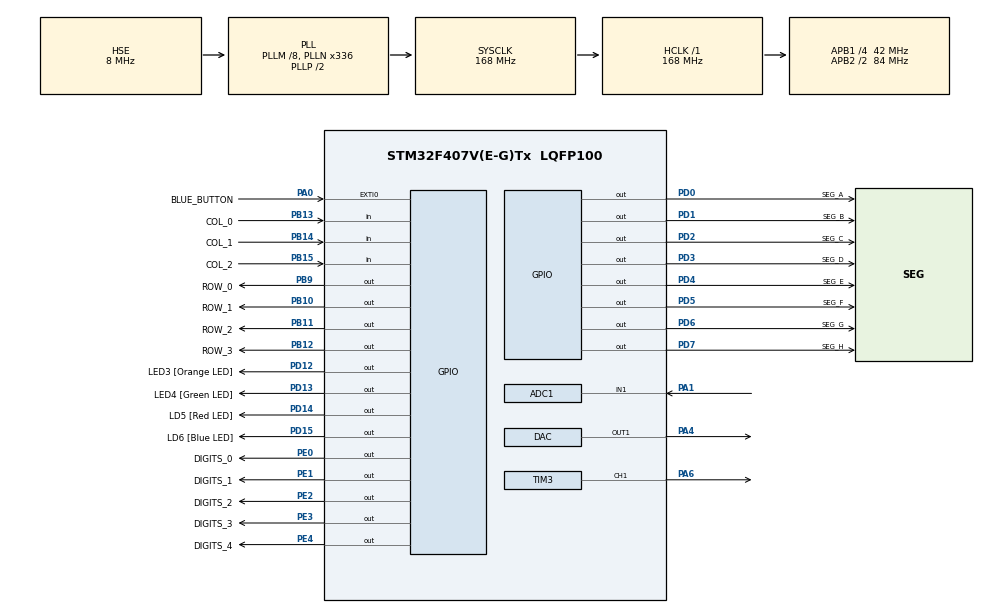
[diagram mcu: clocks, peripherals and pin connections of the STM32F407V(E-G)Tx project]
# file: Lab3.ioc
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ADC1.Channel-12\#ChannelRegularConversion=ADC_CHANNEL_1
ADC1.ClockPrescaler=ADC_CLOCK_SYNC_PCLK_DIV4
ADC1.ContinuousConvMode=DISABLE
ADC1.DMAContinuousRequests=DISABLE
ADC1.DataAlign=ADC_DATAALIGN_RIGHT
ADC1.DiscontinuousConvMode=DISABLE
ADC1.EOCSelection=ADC_EOC_SEQ_CONV
ADC1.EnableAnalogWatchDog=false
ADC1.ExternalTrigConv=ADC_EXTERNALTRIGCONV_T2_TRGO
ADC1.ExternalTrigConvEdge=ADC_EXTERNALTRIGCONVEDGE_RISING
ADC1.InjNumberOfConversion=0
ADC1.NbrOfConversion=1
ADC1.NbrOfConversionFlag=1
ADC1.Rank-12\#ChannelRegularConversion=1
ADC1.Resolution=ADC_RESOLUTION_12B
ADC1.SamplingTime-12\#ChannelRegularConversion=ADC_SAMPLETIME_480CYCLES
ADC1.ScanConvMode=DISABLE
ADC1.master=1
Dma.ADC1.0.Direction=DMA_PERIPH_TO_MEMORY
Dma.ADC1.0.FIFOMode=DMA_FIFOMODE_DISABLE
Dma.ADC1.0.Instance=DMA2_Stream0
Dma.ADC1.0.MemDataAlignment=DMA_MDATAALIGN_WORD
Dma.ADC1.0.MemInc=DMA_MINC_ENABLE
Dma.ADC1.0.Mode=DMA_CIRCULAR
Dma.ADC1.0.PeriphDataAlignment=DMA_PDATAALIGN_WORD
Dma.ADC1.0.PeriphInc=DMA_PINC_DISABLE
Dma.ADC1.0.Priority=DMA_PRIORITY_LOW
Dma.Request0=ADC1
Mcu.Family=STM32F4
Mcu.Name=STM32F407V(E-G)Tx
Mcu.Package=LQFP100
NVIC.ADC_IRQn=true\:0\:0\:false\:false\:true\:true
NVIC.DMA2_Stream0_IRQn=true\:0\:0\:false\:false\:true\:false
NVIC.EXTI0_IRQn=true\:0\:0\:false\:false\:true\:true
NVIC.PriorityGroup=NVIC_PRIORITYGROUP_4
NVIC.TIM2_IRQn=true\:0\:0\:true\:false\:true\:true
NVIC.TIM3_IRQn=true\:0\:0\:false\:false\:true\:true
PA0-WKUP.GPIO_Label=BLUE_BUTTON
PA0-WKUP.Signal=GPXTI0
PA1.Signal=ADCx_IN1
PA4.Signal=COMP_DAC1_group
PA6.Signal=S_TIM3_CH1
PB10.GPIO_Label=ROW_1
PB10.Signal=GPIO_Output
PB11.GPIO_Label=ROW_2
PB11.Signal=GPIO_Output
PB12.GPIO_Label=ROW_3
PB12.Signal=GPIO_Output
PB13.GPIO_Label=COL_0
PB13.GPIO_PuPd=GPIO_PULLDOWN
PB13.Signal=GPIO_Input
PB14.GPIO_Label=COL_1
PB14.GPIO_PuPd=GPIO_PULLDOWN
PB14.Signal=GPIO_Input
PB15.GPIO_Label=COL_2
PB15.GPIO_PuPd=GPIO_PULLDOWN
PB15.Signal=GPIO_Input
PB9.GPIO_Label=ROW_0
PB9.Signal=GPIO_Output
PD0.GPIO_Label=SEG_A
PD0.GPIO_Speed=GPIO_SPEED_FREQ_HIGH
PD0.PinState=GPIO_PIN_RESET
PD0.Signal=GPIO_Output
PD1.GPIO_Label=SEG_B
PD1.GPIO_Speed=GPIO_SPEED_FREQ_HIGH
PD1.Signal=GPIO_Output
PD12.GPIO_Label=LED3 [Orange LED]
PD12.Signal=GPIO_Output
PD13.GPIO_Label=LED4 [Green LED]
PD13.Signal=GPIO_Output
PD14.GPIO_Label=LD5 [Red LED]
PD14.Signal=GPIO_Output
PD15.GPIO_Label=LD6 [Blue LED]
PD15.Signal=GPIO_Output
PD2.GPIO_Label=SEG_C
PD2.GPIO_Speed=GPIO_SPEED_FREQ_HIGH
PD2.Signal=GPIO_Output
PD3.GPIO_Label=SEG_D
PD3.GPIO_Speed=GPIO_SPEED_FREQ_HIGH
PD3.Signal=GPIO_Output
PD4.GPIO_Label=SEG_E
PD4.GPIO_Speed=GPIO_SPEED_FREQ_HIGH
PD4.Signal=GPIO_Output
PD5.GPIO_Label=SEG_F
PD5.GPIO_Speed=GPIO_SPEED_FREQ_HIGH
PD5.Signal=GPIO_Output
PD6.GPIO_Label=SEG_G
PD6.GPIO_Speed=GPIO_SPEED_FREQ_HIGH
PD6.PinState=GPIO_PIN_RESET
PD6.Signal=GPIO_Output
PD7.GPIO_Label=SEG_H
PD7.GPIO_Speed=GPIO_SPEED_FREQ_HIGH
PD7.Signal=GPIO_Output
PE0.GPIO_Label=DIGITS_0
PE0.GPIO_Speed=GPIO_SPEED_FREQ_HIGH
PE0.PinState=GPIO_PIN_RESET
PE0.Signal=GPIO_Output
PE1.GPIO_Label=DIGITS_1
PE1.GPIO_Speed=GPIO_SPEED_FREQ_HIGH
PE1.Signal=GPIO_Output
PE2.GPIO_Label=DIGITS_2
PE2.GPIO_Speed=GPIO_SPEED_FREQ_HIGH
PE2.Signal=GPIO_Output
PE3.GPIO_Label=DIGITS_3
PE3.GPIO_Speed=GPIO_SPEED_FREQ_HIGH
PE3.Signal=GPIO_Output
PE4.GPIO_Label=DIGITS_4
PE4.GPIO_Speed=GPIO_SPEED_FREQ_HIGH
PE4.Signal=GPIO_Output
PH0-OSC_IN.Mode=HSE-External-Oscillator
PH0-OSC_IN.Signal=RCC_OSC_IN
PH1-OSC_OUT.Mode=HSE-External-Oscillator
PH1-OSC_OUT.Signal=RCC_OSC_OUT
ProjectManager.HeapSize=0x200
ProjectManager.StackSize=0x400
ProjectManager.TargetToolchain=MDK-ARM V5
RCC.48MHZClocksFreq_Value=84000000
RCC.AHBFreq_Value=168000000
RCC.APB1CLKDivider=RCC_HCLK_DIV4
RCC.APB1Freq_Value=42000000
RCC.APB1TimFreq_Value=84000000
RCC.APB2CLKDivider=RCC_HCLK_DIV2
RCC.APB2Freq_Value=84000000
RCC.APB2TimFreq_Value=168000000
RCC.CortexFreq_Value=168000000
RCC.HCLKFreq_Value=168000000
RCC.HSE_VALUE=8000000
RCC.HSI_VALUE=16000000
RCC.LSE_VALUE=32768
RCC.PLLM=8
RCC.PLLN=336
RCC.PLLSourceVirtual=RCC_PLLSOURCE_HSE
RCC.SYSCLKFreq_VALUE=168000000
RCC.SYSCLKSource=RCC_SYSCLKSOURCE_PLLCLK
RCC.VCOOutputFreq_Value=336000000
SH.ADCx_IN1.0=ADC1_IN1,IN1
SH.COMP_DAC1_group.0=DAC_OUT1,DAC_OUT1
SH.S_TIM3_CH1.0=TIM3_CH1,PWM Generation1 CH1
TIM2.Period=1000
TIM2.Prescaler=83
TIM2.TIM_MasterOutputTrigger=TIM_TRGO_UPDATE
TIM3.Channel-PWM\ Generation1\ CH1=TIM_CHANNEL_1
TIM3.Period=8400
TIM3.Prescaler=0
VP_TIM2_VS_ClockSourceINT.Mode=Internal
VP_TIM3_VS_ClockSourceINT.Mode=Internal
board=Lab3

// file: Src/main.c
/**
  ******************************************************************************
  * @file           : main.c
  * @brief          : Main program body
  ******************************************************************************
  ** This notice applies to any and all portions of this file
  * that are not between comment pairs USER CODE BEGIN and
  * USER CODE END. Other portions of this file, whether
  * inserted by the user or by software development tools
  * are owned by their respective copyright owners.
  *
  * COPYRIGHT(c) 2018 STMicroelectronics
  *
  * Redistribution and use in source and binary forms, with or without modification,
  * are permitted provided that the following conditions are met:
  *   1. Redistributions of source code must retain the above copyright notice,
  *      this list of conditions and the following disclaimer.
  *   2. Redistributions in binary form must reproduce the above copyright notice,
  *      this list of conditions and the following disclaimer in the documentation
  *      and/or other materials provided with the distribution.
  *   3. Neither the name of STMicroelectronics nor the names of its contributors
  *      may be used to endorse or promote products derived from this software
  *      without specific prior written permission.
  *
  * THIS SOFTWARE IS PROVIDED BY THE COPYRIGHT HOLDERS AND CONTRIBUTORS "AS IS"
  * AND ANY EXPRESS OR IMPLIED WARRANTIES, INCLUDING, BUT NOT LIMITED TO, THE
  * IMPLIED WARRANTIES OF MERCHANTABILITY AND FITNESS FOR A PARTICULAR PURPOSE ARE
  * DISCLAIMED. IN NO EVENT SHALL THE COPYRIGHT HOLDER OR CONTRIBUTORS BE LIABLE
  * FOR ANY DIRECT, INDIRECT, INCIDENTAL, SPECIAL, EXEMPLARY, OR CONSEQUENTIAL
  * DAMAGES (INCLUDING, BUT NOT LIMITED TO, PROCUREMENT OF SUBSTITUTE GOODS OR
  * SERVICES; LOSS OF USE, DATA, OR PROFITS; OR BUSINESS INTERRUPTION) HOWEVER
  * CAUSED AND ON ANY THEORY OF LIABILITY, WHETHER IN CONTRACT, STRICT LIABILITY,
  * OR TORT (INCLUDING NEGLIGENCE OR OTHERWISE) ARISING IN ANY WAY OUT OF THE USE
  * OF THIS SOFTWARE, EVEN IF ADVISED OF THE POSSIBILITY OF SUCH DAMAGE.
  *
  ******************************************************************************
  */
#include "main.h"
#include "stm32f4xx_hal.h"

/* USER CODE BEGIN Includes */
#ifdef __stdio_h
#include <stdio.h>
#endif

#include <stdbool.h>
#ifndef DISPLAY_RMS
#include "heads_up_display.h"
#endif

#ifndef FSM
#include "fsm.h"
#endif

#ifndef ADC
#include "adc.h"
#endif

#include <math.h>

#define ABS(x) ((x < 0)? -x : x)
#define MAX(a, b) ((a > b) ? a : b)
#define MIN(a, b) ((a < b) ? a : b)
#define BOUND(x, lower, upper) (MAX(MIN(x, upper), lower))

/* USER CODE END Includes */

ADC_HandleTypeDef hadc1;
DMA_HandleTypeDef hdma_adc1;

DAC_HandleTypeDef hdac;

TIM_HandleTypeDef htim2;
TIM_HandleTypeDef htim3;

/* USER CODE BEGIN PV */
/* Private variables ---------------------------------------------------------*/

const int PWM_TIMER_PERIOD = 1680;

/* USER CODE END PV */

void SystemClock_Config(void);
static void MX_GPIO_Init(void);
static void MX_DMA_Init(void);
static void MX_DAC_Init(void);
static void MX_ADC1_Init(void);
static void MX_TIM2_Init(void);
static void MX_TIM3_Init(void);

void HAL_TIM_MspPostInit(TIM_HandleTypeDef *htim);

/* USER CODE BEGIN PFP */
/* Private function prototypes -----------------------------------------------*/

// Called in order to adjust the duty cycle.
void adjust_duty_cycle(float current_rms);

// starts the ADC.
void start_adc(void);
// stops the ADC.
void stop_adc(void);

extern int ADC_BUFFER_SIZE;
extern uint32_t ADCBufferDMA[];

extern void adc_buffer_full_callback(void);

// Function that is called whenever the blue button is pressed.
void button_pressed_callback(void);
void pwm_duty_cycle(uint16_t new_period);
/* USER CODE END PFP */

/* USER CODE BEGIN 0 */

/** @brief Set the period of the PWM timer
* @param new_period: new timer period.
*/
void pwm_duty_cycle(uint16_t new_period) //input percentage
{
//    uint16_t value = (uint16_t)(PWM_TIMER_PERIOD)*percentage; //(period)*(percent/100)
		TIM_OC_InitTypeDef sConfigOC;
		sConfigOC.OCMode = TIM_OCMODE_PWM1;
		sConfigOC.Pulse = BOUND(new_period, 0, PWM_TIMER_PERIOD);
		sConfigOC.OCPolarity = TIM_OCPOLARITY_HIGH;
		sConfigOC.OCFastMode = TIM_OCFAST_DISABLE;
    HAL_TIM_PWM_ConfigChannel(&htim3, &sConfigOC, TIM_CHANNEL_1);
    HAL_TIM_PWM_Start(&htim3, TIM_CHANNEL_1);
}

/** @brief Controller which adjusts the PWM duty cycle in order to match the current target RMS voltage.
* @param current_rms: The current RMS voltage from the ADC.
*/
void adjust_duty_cycle(float current_rms){
	extern float target_voltage;
	// a damping constant, that limits the rate of change of the percentage.
	static const float damping = 0.005f;

//	static const float increment = PWM_TIMER_PERIOD / 3.0f;
	static float current_percentage;
	static int current_period;
	static float difference;

	difference = current_rms - target_voltage;

	current_percentage -= damping * difference;
	current_percentage = BOUND(current_percentage, 0.f, 1.f);

	current_period = round(current_percentage * PWM_TIMER_PERIOD);

	printf("Current voltage: %2.3f, Target Voltage: %2.3f, current percentage: %2.5f%%, current_period: %u / %u \n", current_rms, target_voltage, current_percentage*100, current_period, PWM_TIMER_PERIOD);
	pwm_duty_cycle(current_period);
}

void start_adc(){
	HAL_ADC_Start_DMA(&hadc1, ADCBufferDMA, ADC_BUFFER_SIZE);
}

void stop_adc(){
	HAL_ADC_Stop_DMA(&hadc1);
}

// Called when the buffer is filled.
void HAL_ADC_ConvCpltCallback(ADC_HandleTypeDef* AdcHandle)
{

	if(AdcHandle->Instance == ADC1){
		adc_buffer_full_callback();
		stop_adc();
		start_adc();
	}
}
/** Called whenever an EXTI interrupt occurs (i.e. button press)
*
*/
void HAL_GPIO_EXTI_Callback(uint16_t pin){
	switch(pin){
		case BLUE_BUTTON_Pin:
			button_pressed_callback();
			break;
		default:
			printf("EXTI interrupt!\n");
	}

}

 void button_pressed_callback(){
	extern uint8_t display_mode;
	display_mode++;
	display_mode %= 3;
	switch(display_mode){
		case DISPLAY_RMS:
			// TODO: display one of the LEDs
			HAL_GPIO_WritePin(GPIOD, LED3_Pin, GPIO_PIN_SET);
			HAL_GPIO_WritePin(GPIOD, LED4_Pin, GPIO_PIN_RESET);
			HAL_GPIO_WritePin(GPIOD, LD5_Pin, GPIO_PIN_RESET);
			break;
		case DISPLAY_MIN:
			HAL_GPIO_WritePin(GPIOD, LED3_Pin, GPIO_PIN_RESET);
			HAL_GPIO_WritePin(GPIOD, LED4_Pin, GPIO_PIN_SET);
			HAL_GPIO_WritePin(GPIOD, LD5_Pin, GPIO_PIN_RESET);
			break;
		case DISPLAY_MAX:
			HAL_GPIO_WritePin(GPIOD, LED3_Pin, GPIO_PIN_RESET);
			HAL_GPIO_WritePin(GPIOD, LED4_Pin, GPIO_PIN_RESET);
			HAL_GPIO_WritePin(GPIOD, LD5_Pin, GPIO_PIN_SET);
			break;
	}
}

/* USER CODE END 0 */

int main(void)
{

  /* MCU Configuration----------------------------------------------------------*/

  /* Reset of all peripherals, Initializes the Flash interface and the Systick. */
  HAL_Init();

  /* Configure the system clock */
  SystemClock_Config();

  /* Initialize all configured peripherals */
  MX_GPIO_Init();
  MX_DMA_Init();
  MX_DAC_Init();
  MX_ADC1_Init();
  MX_TIM2_Init();
  MX_TIM3_Init();
  /* USER CODE BEGIN 2 */

//
//	HAL_DAC_SetValue(&hdac, DAC_CHANNEL_1, DAC_ALIGN_12B_R, 2048);
//	HAL_DAC_Start(&hdac, DAC_CHANNEL_1);

//	SET_PIN(DIGITS_0);
//	HAL_GPIO_WritePin(SEG_G_GPIO_Port, SEG_G_Pin, GPIO_PIN_SET);
//	HAL_GPIO_WritePin(LED3_GPIO_Port, LED3_Pin, GPIO_PIN_SET);

	// Start the timers.
	HAL_TIM_Base_Start(&htim2);
	HAL_TIM_Base_Start(&htim3);
	HAL_TIM_PWM_Start(&htim3,TIM_CHANNEL_1);

  HAL_TIM_Base_Start_DMA(&htim2, ADCBufferDMA, ADC_BUFFER_SIZE);

	sleep();
//	HAL_ADC_Start_DMA(&hadc1,ADCBufferDMA, ADC_BUFFER_SIZE);
	//pwm_duty_cycle(50);

  /* USER CODE END 2 */

  /* Infinite loop */
  while (1)
  {

  }

}

void SystemClock_Config(void)
{

  RCC_OscInitTypeDef RCC_OscInitStruct;
  RCC_ClkInitTypeDef RCC_ClkInitStruct;

    /**Configure the main internal regulator output voltage
    */
  __HAL_RCC_PWR_CLK_ENABLE();

  __HAL_PWR_VOLTAGESCALING_CONFIG(PWR_REGULATOR_VOLTAGE_SCALE1);

    /**Initializes the CPU, AHB and APB busses clocks
    */
  RCC_OscInitStruct.OscillatorType = RCC_OSCILLATORTYPE_HSE;
  RCC_OscInitStruct.HSEState = RCC_HSE_ON;
  RCC_OscInitStruct.PLL.PLLState = RCC_PLL_ON;
  RCC_OscInitStruct.PLL.PLLSource = RCC_PLLSOURCE_HSE;
  RCC_OscInitStruct.PLL.PLLM = 8;
  RCC_OscInitStruct.PLL.PLLN = 336;
  RCC_OscInitStruct.PLL.PLLP = RCC_PLLP_DIV2;
  RCC_OscInitStruct.PLL.PLLQ = 4;
  if (HAL_RCC_OscConfig(&RCC_OscInitStruct) != HAL_OK)
  {
    _Error_Handler(__FILE__, __LINE__);
  }

    /**Initializes the CPU, AHB and APB busses clocks
    */
  RCC_ClkInitStruct.ClockType = RCC_CLOCKTYPE_HCLK|RCC_CLOCKTYPE_SYSCLK
                              |RCC_CLOCKTYPE_PCLK1|RCC_CLOCKTYPE_PCLK2;
  RCC_ClkInitStruct.SYSCLKSource = RCC_SYSCLKSOURCE_PLLCLK;
  RCC_ClkInitStruct.AHBCLKDivider = RCC_SYSCLK_DIV1;
  RCC_ClkInitStruct.APB1CLKDivider = RCC_HCLK_DIV4;
  RCC_ClkInitStruct.APB2CLKDivider = RCC_HCLK_DIV2;

  if (HAL_RCC_ClockConfig(&RCC_ClkInitStruct, FLASH_LATENCY_5) != HAL_OK)
  {
    _Error_Handler(__FILE__, __LINE__);
  }

    /**Configure the Systick interrupt time
    */
  HAL_SYSTICK_Config(HAL_RCC_GetHCLKFreq()/1000);

    /**Configure the Systick
    */
  HAL_SYSTICK_CLKSourceConfig(SYSTICK_CLKSOURCE_HCLK);

  /* SysTick_IRQn interrupt configuration */
  HAL_NVIC_SetPriority(SysTick_IRQn, 0, 0);
}

/* ADC1 init function */
static void MX_ADC1_Init(void)
{

  ADC_ChannelConfTypeDef sConfig;

    /**Configure the global features of the ADC (Clock, Resolution, Data Alignment and number of conversion)
    */
  hadc1.Instance = ADC1;
  hadc1.Init.ClockPrescaler = ADC_CLOCK_SYNC_PCLK_DIV4;
  hadc1.Init.Resolution = ADC_RESOLUTION_12B;
  hadc1.Init.ScanConvMode = DISABLE;
  hadc1.Init.ContinuousConvMode = DISABLE;
  hadc1.Init.DiscontinuousConvMode = DISABLE;
  hadc1.Init.ExternalTrigConvEdge = ADC_EXTERNALTRIGCONVEDGE_RISING;
  hadc1.Init.ExternalTrigConv = ADC_EXTERNALTRIGCONV_T2_TRGO;
  hadc1.Init.DataAlign = ADC_DATAALIGN_RIGHT;
  hadc1.Init.NbrOfConversion = 1;
  hadc1.Init.DMAContinuousRequests = DISABLE;
  hadc1.Init.EOCSelection = ADC_EOC_SEQ_CONV;
  if (HAL_ADC_Init(&hadc1) != HAL_OK)
  {
    _Error_Handler(__FILE__, __LINE__);
  }

    /**Configure for the selected ADC regular channel its corresponding rank in the sequencer and its sample time.
    */
  sConfig.Channel = ADC_CHANNEL_1;
  sConfig.Rank = 1;
  sConfig.SamplingTime = ADC_SAMPLETIME_480CYCLES;
  if (HAL_ADC_ConfigChannel(&hadc1, &sConfig) != HAL_OK)
  {
    _Error_Handler(__FILE__, __LINE__);
  }

}

/* DAC init function */
static void MX_DAC_Init(void)
{

  DAC_ChannelConfTypeDef sConfig;

    /**DAC Initialization
    */
  hdac.Instance = DAC;
  if (HAL_DAC_Init(&hdac) != HAL_OK)
  {
    _Error_Handler(__FILE__, __LINE__);
  }

    /**DAC channel OUT1 config
    */
  sConfig.DAC_Trigger = DAC_TRIGGER_NONE;
  sConfig.DAC_OutputBuffer = DAC_OUTPUTBUFFER_ENABLE;
  if (HAL_DAC_ConfigChannel(&hdac, &sConfig, DAC_CHANNEL_1) != HAL_OK)
  {
    _Error_Handler(__FILE__, __LINE__);
  }

}

/* TIM2 init function */
static void MX_TIM2_Init(void)
{

  TIM_ClockConfigTypeDef sClockSourceConfig;
  TIM_MasterConfigTypeDef sMasterConfig;

  htim2.Instance = TIM2;
  htim2.Init.Prescaler = 83;
  htim2.Init.CounterMode = TIM_COUNTERMODE_UP;
  htim2.Init.Period = 1000;
  htim2.Init.ClockDivision = TIM_CLOCKDIVISION_DIV1;
  if (HAL_TIM_Base_Init(&htim2) != HAL_OK)
  {
    _Error_Handler(__FILE__, __LINE__);
  }

  sClockSourceConfig.ClockSource = TIM_CLOCKSOURCE_INTERNAL;
  if (HAL_TIM_ConfigClockSource(&htim2, &sClockSourceConfig) != HAL_OK)
  {
    _Error_Handler(__FILE__, __LINE__);
  }

  sMasterConfig.MasterOutputTrigger = TIM_TRGO_UPDATE;
  sMasterConfig.MasterSlaveMode = TIM_MASTERSLAVEMODE_DISABLE;
  if (HAL_TIMEx_MasterConfigSynchronization(&htim2, &sMasterConfig) != HAL_OK)
  {
    _Error_Handler(__FILE__, __LINE__);
  }

}

/* TIM3 init function */
static void MX_TIM3_Init(void)
{

  TIM_ClockConfigTypeDef sClockSourceConfig;
  TIM_MasterConfigTypeDef sMasterConfig;
  TIM_OC_InitTypeDef sConfigOC;

  htim3.Instance = TIM3;
  htim3.Init.Prescaler = 0;
  htim3.Init.CounterMode = TIM_COUNTERMODE_UP;
  htim3.Init.Period = 1680;
  htim3.Init.ClockDivision = TIM_CLOCKDIVISION_DIV1;
  if (HAL_TIM_Base_Init(&htim3) != HAL_OK)
  {
    _Error_Handler(__FILE__, __LINE__);
  }

  sClockSourceConfig.ClockSource = TIM_CLOCKSOURCE_INTERNAL;
  if (HAL_TIM_ConfigClockSource(&htim3, &sClockSourceConfig) != HAL_OK)
  {
    _Error_Handler(__FILE__, __LINE__);
  }

  if (HAL_TIM_PWM_Init(&htim3) != HAL_OK)
  {
    _Error_Handler(__FILE__, __LINE__);
  }

  sMasterConfig.MasterOutputTrigger = TIM_TRGO_RESET;
  sMasterConfig.MasterSlaveMode = TIM_MASTERSLAVEMODE_DISABLE;
  if (HAL_TIMEx_MasterConfigSynchronization(&htim3, &sMasterConfig) != HAL_OK)
  {
    _Error_Handler(__FILE__, __LINE__);
  }

  sConfigOC.OCMode = TIM_OCMODE_PWM1;
  sConfigOC.Pulse = 0;
  sConfigOC.OCPolarity = TIM_OCPOLARITY_HIGH;
  sConfigOC.OCFastMode = TIM_OCFAST_DISABLE;
  if (HAL_TIM_PWM_ConfigChannel(&htim3, &sConfigOC, TIM_CHANNEL_1) != HAL_OK)
  {
    _Error_Handler(__FILE__, __LINE__);
  }

  HAL_TIM_MspPostInit(&htim3);

}

static void MX_DMA_Init(void)
{
  /* DMA controller clock enable */
  __HAL_RCC_DMA2_CLK_ENABLE();

  /* DMA interrupt init */
  /* DMA2_Stream0_IRQn interrupt configuration */
  HAL_NVIC_SetPriority(DMA2_Stream0_IRQn, 0, 0);
  HAL_NVIC_EnableIRQ(DMA2_Stream0_IRQn);

}

/** Configure pins as
        * Analog
        * Input
        * Output
        * EVENT_OUT
        * EXTI
*/
static void MX_GPIO_Init(void)
{

  GPIO_InitTypeDef GPIO_InitStruct;

  /* GPIO Ports Clock Enable */
  __HAL_RCC_GPIOE_CLK_ENABLE();
  __HAL_RCC_GPIOH_CLK_ENABLE();
  __HAL_RCC_GPIOA_CLK_ENABLE();
  __HAL_RCC_GPIOB_CLK_ENABLE();
  __HAL_RCC_GPIOD_CLK_ENABLE();

  /*Configure GPIO pin Output Level */
  HAL_GPIO_WritePin(GPIOE, DIGITS_2_Pin|DIGITS_3_Pin|DIGITS_4_Pin|DIGITS_0_Pin
                          |DIGITS_1_Pin, GPIO_PIN_RESET);

  /*Configure GPIO pin Output Level */
  HAL_GPIO_WritePin(GPIOB, ROW_1_Pin|ROW_2_Pin|ROW_3_Pin|ROW_0_Pin, GPIO_PIN_RESET);

  /*Configure GPIO pin Output Level */
  HAL_GPIO_WritePin(GPIOD, LED3_Pin|LED4_Pin|LD5_Pin|LD6_Pin
                          |SEG_A_Pin|SEG_B_Pin|SEG_C_Pin|SEG_D_Pin
                          |SEG_E_Pin|SEG_F_Pin|SEG_G_Pin|SEG_H_Pin, GPIO_PIN_RESET);

  /*Configure GPIO pins : DIGITS_2_Pin DIGITS_3_Pin DIGITS_4_Pin DIGITS_0_Pin
                           DIGITS_1_Pin */
  GPIO_InitStruct.Pin = DIGITS_2_Pin|DIGITS_3_Pin|DIGITS_4_Pin|DIGITS_0_Pin
                          |DIGITS_1_Pin;
  GPIO_InitStruct.Mode = GPIO_MODE_OUTPUT_PP;
  GPIO_InitStruct.Pull = GPIO_NOPULL;
  GPIO_InitStruct.Speed = GPIO_SPEED_FREQ_HIGH;
  HAL_GPIO_Init(GPIOE, &GPIO_InitStruct);

  /*Configure GPIO pin : BLUE_BUTTON_Pin */
  GPIO_InitStruct.Pin = BLUE_BUTTON_Pin;
  GPIO_InitStruct.Mode = GPIO_MODE_IT_RISING;
  GPIO_InitStruct.Pull = GPIO_NOPULL;
  HAL_GPIO_Init(BLUE_BUTTON_GPIO_Port, &GPIO_InitStruct);

  /*Configure GPIO pins : ROW_1_Pin ROW_2_Pin ROW_3_Pin ROW_0_Pin */
  GPIO_InitStruct.Pin = ROW_1_Pin|ROW_2_Pin|ROW_3_Pin|ROW_0_Pin;
  GPIO_InitStruct.Mode = GPIO_MODE_OUTPUT_PP;
  GPIO_InitStruct.Pull = GPIO_NOPULL;
  GPIO_InitStruct.Speed = GPIO_SPEED_FREQ_LOW;
  HAL_GPIO_Init(GPIOB, &GPIO_InitStruct);

  /*Configure GPIO pins : COL_0_Pin COL_1_Pin COL_2_Pin */
  GPIO_InitStruct.Pin = COL_0_Pin|COL_1_Pin|COL_2_Pin;
  GPIO_InitStruct.Mode = GPIO_MODE_INPUT;
  GPIO_InitStruct.Pull = GPIO_PULLDOWN;
  HAL_GPIO_Init(GPIOB, &GPIO_InitStruct);

  /*Configure GPIO pins : LED3_Pin LED4_Pin LD5_Pin LD6_Pin */
  GPIO_InitStruct.Pin = LED3_Pin|LED4_Pin|LD5_Pin|LD6_Pin;
  GPIO_InitStruct.Mode = GPIO_MODE_OUTPUT_PP;
  GPIO_InitStruct.Pull = GPIO_NOPULL;
  GPIO_InitStruct.Speed = GPIO_SPEED_FREQ_LOW;
  HAL_GPIO_Init(GPIOD, &GPIO_InitStruct);

  /*Configure GPIO pins : SEG_A_Pin SEG_B_Pin SEG_C_Pin SEG_D_Pin
                           SEG_E_Pin SEG_F_Pin SEG_G_Pin SEG_H_Pin */
  GPIO_InitStruct.Pin = SEG_A_Pin|SEG_B_Pin|SEG_C_Pin|SEG_D_Pin
                          |SEG_E_Pin|SEG_F_Pin|SEG_G_Pin|SEG_H_Pin;
  GPIO_InitStruct.Mode = GPIO_MODE_OUTPUT_PP;
  GPIO_InitStruct.Pull = GPIO_NOPULL;
  GPIO_InitStruct.Speed = GPIO_SPEED_FREQ_HIGH;
  HAL_GPIO_Init(GPIOD, &GPIO_InitStruct);

  /* EXTI interrupt init*/
  HAL_NVIC_SetPriority(EXTI0_IRQn, 0, 0);
  HAL_NVIC_EnableIRQ(EXTI0_IRQn);

}

void _Error_Handler(char *file, int line)
{
  while(1)
  {
  }
}

/************************ (C) COPYRIGHT STMicroelectronics *****END OF FILE****/
